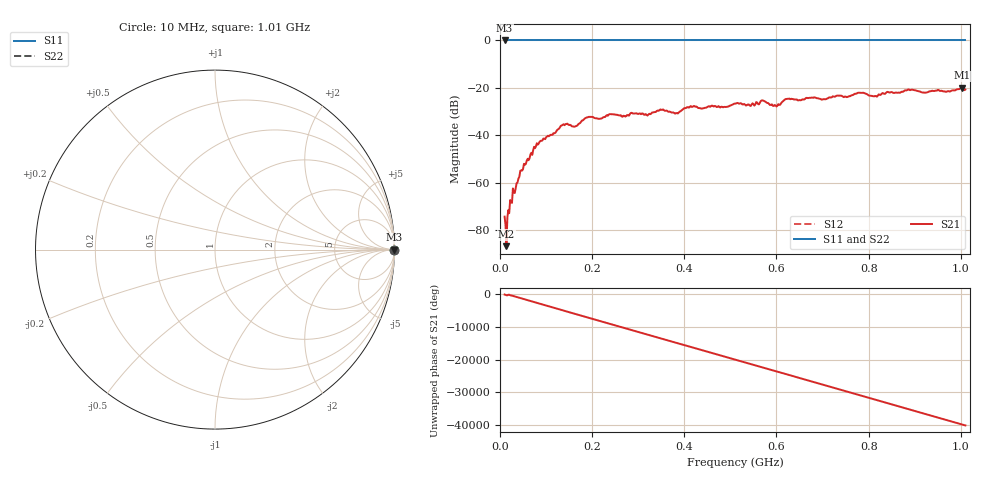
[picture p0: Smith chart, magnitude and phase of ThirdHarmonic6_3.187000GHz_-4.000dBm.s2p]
! 8/17/2025 9:38:20 AM
! C:\ANRITSUVNA\TEMP\TEMP.S2P
! CHANNEL.1
! TR.MEASUREMENT
! RAW.DATA
! RF.CORRECTION.OFF
! AVERAGING.OFF
! IF.BANDWIDTH: 5KHZ
! SWEEPTYPE:  FREQ.SWEEP(Linear)
! Reference Plane Port Info
! PORT:  PORT1  PORT2
! DISTANCE:  0  m  0  m
! TIME:  0  s  0  s
! PHASE.OFFSET:  0  deg.  0  deg.
! LOSS:  0  dB  0  dB
! REF.LOSS:  0  dB  0  dB
! REF.FREQ:  0  Hz  0  Hz
! Power Info
! POWER:  -20  dBm  -20  dBm
! EFF.POWER:  -20  dBm  -20  dBm
! SOURCE.ATTEN:  0  dB  0  dB
! TEST.ATTEN:  0  dB  0  dB
# GHZ S RI R 50.0
! FREQ.GHZ  S11RE  S11IM  S21RE  S21IM  S12RE  S12IM  S22RE  S22IM
!; PortSelection: Port_12
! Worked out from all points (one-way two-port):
!   501 points, 10 MHz to 1.01 GHz, reference 50 ohm
!   highest |S21| = -19.93 dB at 1.002 GHz (marker M1); lowest = -86.7 dB at 14 MHz (marker M2)
!   lowest |S11| = 0.0 dB at 10 MHz (marker M3)
!   |S11| at or under -10 dB: nowhere
!   |S22| runs from 0.0 to 0.0 dB; largest |S21 - S12| = 1.1
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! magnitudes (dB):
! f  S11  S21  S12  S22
! 10 MHz  0.0  -74.2  0.0  0.0
! 14 MHz  0.0  -86.7  0.0  0.0
! 16 MHz  0.0  -74.6  0.0  0.0
! 26 MHz  0.0  -68.4  0.0  0.0
! 44 MHz  0.0  -54.9  0.0  0.0
! 76 MHz  0.0  -45.4  0.0  0.0
! 134 MHz  0.0  -35.8  0.0  0.0
! 162 MHz  0.0  -36.4  0.0  0.0
! 178 MHz  0.0  -33.7  0.0  0.0
! 344 MHz  0.0  -29.7  0.0  0.0
! 382 MHz  0.0  -30.6  0.0  0.0
! 410 MHz  0.0  -28.3  0.0  0.0
! 510 MHz  0.0  -26.6  0.0  0.0
! 570 MHz  0.0  -25.3  0.0  0.0
! 598 MHz  0.0  -27.4  0.0  0.0
! 624 MHz  0.0  -24.6  0.0  0.0
! 678 MHz  0.0  -24.1  0.0  0.0
! 780 MHz  0.0  -22.0  0.0  0.0
! 814 MHz  0.0  -23.4  0.0  0.0
! 844 MHz  0.0  -21.9  0.0  0.0
! 1.002 GHz  0.0  -19.9  0.0  0.0
! 1.01 GHz  0.0  -20.7  0.0  0.0
